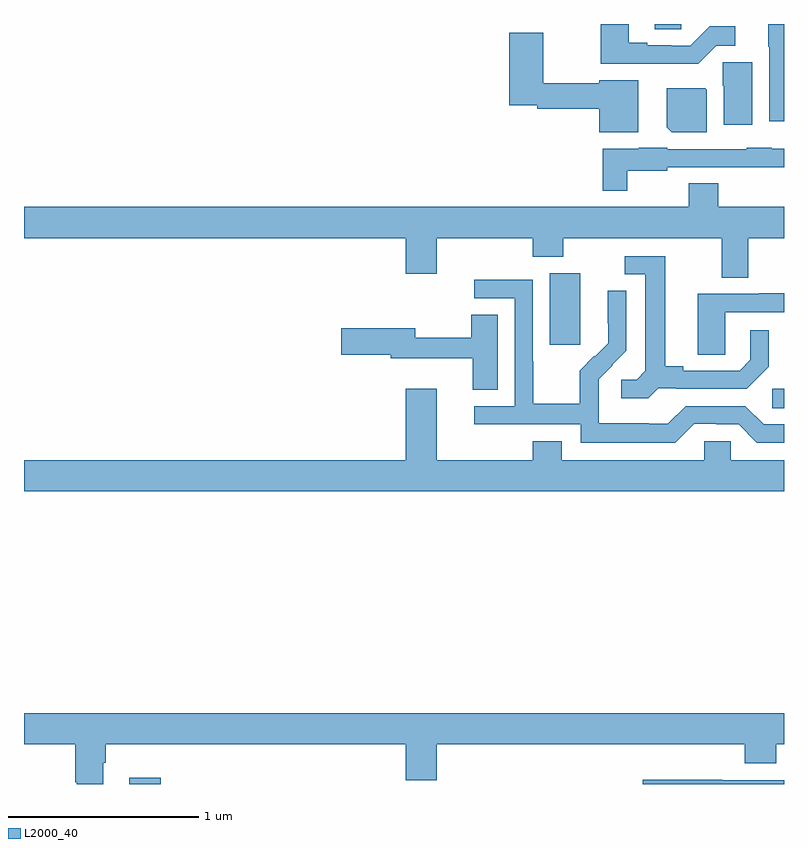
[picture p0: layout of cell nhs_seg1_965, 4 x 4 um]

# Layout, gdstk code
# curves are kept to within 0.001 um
import gdstk
lib = gdstk.Library(unit=1e-6, precision=1e-09)
def R(c, l, rs):  # rectangles x0, y0, x1, y1
    for r in rs: c.add(gdstk.rectangle(r[:2], r[2:], *l))
def P(c, l, *ps):  # polygons
    for p in ps: c.add(gdstk.Polygon(p, *l))
L2000_40 = (2000, 40)

nhs_seg1_965 = lib.new_cell('nhs_seg1_965')
R(nhs_seg1_965, L2000_40, [(163.553,542.199,163.721,542.233), (166.938,544.177,167,544.278), (165.767,544.512,165.928,544.888), (166.319,546.172,166.458,546.199)])
P(nhs_seg1_965, L2000_40, [(166.644,546.084),(166.744,546.084),(166.744,546.187),(166.609,546.187),(166.506,546.084),(166.406,546.084),(166.406,546.087),(166.279,546.087),(166.279,546.1),(166.183,546.1),(166.183,546.199),(166.036,546.199),(166.036,545.99),(166.549,545.99)],
  [(167,546.199),(166.916,546.199),(166.916,546.078),(166.922,546.078),(166.922,545.688),(167,545.688)],
  [(166.234,545.902),(166.028,545.902),(166.028,545.888),(165.732,545.888),(165.732,546.154),(165.554,546.154),(165.554,545.772),(165.7,545.772),(165.7,545.752),(166.028,545.752),(166.028,545.63),(166.234,545.63)],
  [(166.834,545.997),(166.678,545.997),(166.678,545.874),(166.682,545.874),(166.682,545.67),(166.834,545.67)],
  [(166.594,545.852),(166.586,545.86),(166.382,545.86),(166.382,545.656),(166.408,545.63),(166.594,545.63)],
  [(166.174,545.426),(166.386,545.426),(166.386,545.445),(166.803,545.445),(166.803,545.444),(167,545.444),(167,545.542),(166.935,545.542),(166.935,545.548),(166.803,545.548),(166.803,545.541),(166.386,545.541),(166.386,545.548),(166.236,545.548),(166.236,545.542),(166.045,545.542),(166.045,545.321),(166.174,545.321)],
  [(163,545.072),(165.008,545.072),(165.008,544.884),(165.172,544.884),(165.172,545.072),(165.677,545.072),(165.677,544.973),(165.837,544.973),(165.837,545.072),(166.673,545.072),(166.673,544.864),(166.813,544.864),(166.813,545.072),(167,545.072),(167,545.236),(166.653,545.236),(166.653,545.36),(166.498,545.36),(166.498,545.236),(163,545.236)],
  [(166.338,544.281),(166.432,544.281),(166.432,544.278),(166.804,544.278),(166.92,544.394),(166.92,544.588),(166.823,544.588),(166.823,544.431),(166.766,544.374),(166.471,544.374),(166.471,544.397),(166.375,544.397),(166.375,544.977),(166.161,544.977),(166.161,544.881),(166.271,544.881),(166.271,544.373),(166.224,544.326),(166.143,544.326),(166.143,544.229),(166.286,544.229)],
  [(166.527,544.095),(166.643,544.095),(166.643,544.092),(166.761,544.092),(166.857,543.996),(167,543.996),(167,544.092),(166.893,544.092),(166.797,544.188),(166.482,544.188),(166.389,544.095),(166.289,544.095),(166.289,544.099),(166.026,544.099),(166.026,544.233),(166.024,544.233),(166.024,544.33),(166.17,544.478),(166.17,544.796),(166.073,544.796),(166.073,544.624),(166.076,544.624),(166.076,544.52),(166.005,544.449),(166.002,544.452),(165.925,544.375),(165.925,544.201),(165.681,544.201),(165.681,544.424),(165.678,544.424),(165.678,544.854),(165.369,544.854),(165.369,544.755),(165.582,544.755),(165.582,544.188),(165.369,544.188),(165.369,544.092),(165.93,544.092),(165.93,543.995),(166.427,543.995)],
  [(166.692,544.683),(167,544.683),(167,544.783),(166.871,544.783),(166.871,544.779),(166.547,544.779),(166.547,544.459),(166.692,544.459)],
  [(165.493,544.67),(165.355,544.67),(165.355,544.549),(165.058,544.549),(165.058,544.599),(164.67,544.599),(164.67,544.457),(164.93,544.457),(164.93,544.439),(165.362,544.439),(165.362,544.273),(165.493,544.273)],
  [(167,543.904),(166.719,543.904),(166.719,544.002),(166.581,544.002),(166.581,543.904),(165.829,543.904),(165.829,544.003),(165.677,544.003),(165.677,543.904),(165.172,543.904),(165.172,544.279),(165.008,544.279),(165.008,543.904),(163,543.904),(163,543.74),(167,543.74)],
  [(163.417,542.312),(163.43,542.312),(163.43,542.408),(165.008,542.408),(165.008,542.22),(165.172,542.22),(165.172,542.408),(166.793,542.408),(166.793,542.309),(166.958,542.309),(166.958,542.408),(167,542.408),(167,542.572),(163,542.572),(163,542.408),(163.27,542.408),(163.27,542.209),(163.277,542.209),(163.277,542.199),(163.417,542.199)],
  [(167,542.22),(166.675,542.22),(166.675,542.222),(166.257,542.222),(166.257,542.199),(167,542.199)])

lib.write_gds('nhs_seg1_965.gds')
